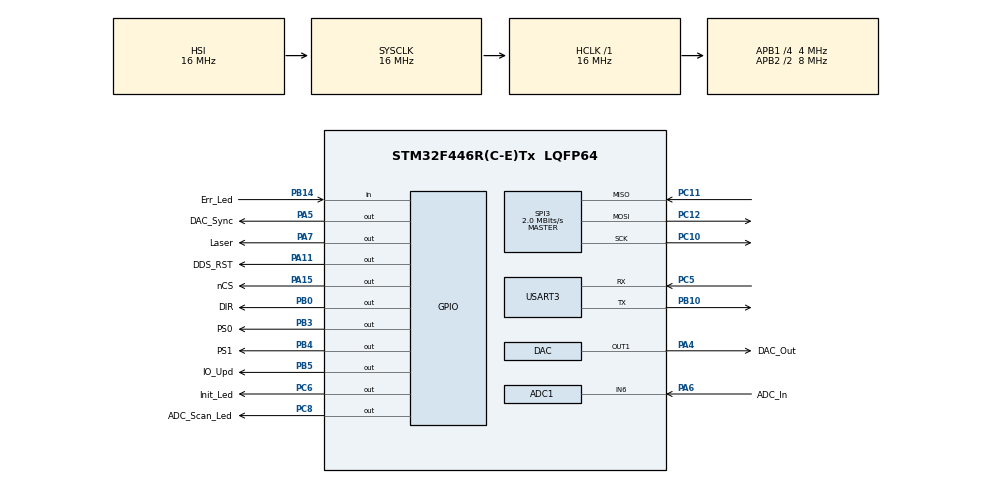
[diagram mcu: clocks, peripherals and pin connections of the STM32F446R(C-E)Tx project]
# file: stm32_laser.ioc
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ADC1.Channel-0\#ChannelRegularConversion=ADC_CHANNEL_6
ADC1.Channel-1\#ChannelInjectedConversion=ADC_CHANNEL_6
ADC1.ClockPrescaler=ADC_CLOCK_SYNC_PCLK_DIV6
ADC1.ContinuousConvMode=DISABLE
ADC1.DMAContinuousRequests=DISABLE
ADC1.DataAlign=ADC_DATAALIGN_RIGHT
ADC1.DiscontinuousConvMode=DISABLE
ADC1.EOCSelection=ADC_EOC_SINGLE_CONV
ADC1.EnableAnalogWatchDog=false
ADC1.ExternalTrigConvEdge=ADC_EXTERNALTRIGCONVEDGE_NONE
ADC1.InjNumberOfConversion=0
ADC1.InjectedOffset-1\#ChannelInjectedConversion=0
ADC1.NbrOfConversion=1
ADC1.NbrOfConversionFlag=1
ADC1.Rank-0\#ChannelRegularConversion=1
ADC1.Rank-1\#ChannelInjectedConversion=1
ADC1.Resolution=ADC_RESOLUTION_8B
ADC1.SamplingTime-0\#ChannelRegularConversion=ADC_SAMPLETIME_480CYCLES
ADC1.SamplingTime-1\#ChannelInjectedConversion=ADC_SAMPLETIME_3CYCLES
ADC1.ScanConvMode=DISABLE
ADC1.master=1
DAC.DAC_Trigger=DAC_TRIGGER_NONE
Dma.ADC1.0.Direction=DMA_PERIPH_TO_MEMORY
Dma.ADC1.0.FIFOMode=DMA_FIFOMODE_DISABLE
Dma.ADC1.0.Instance=DMA2_Stream0
Dma.ADC1.0.MemDataAlignment=DMA_MDATAALIGN_HALFWORD
Dma.ADC1.0.MemInc=DMA_MINC_ENABLE
Dma.ADC1.0.Mode=DMA_NORMAL
Dma.ADC1.0.PeriphDataAlignment=DMA_PDATAALIGN_HALFWORD
Dma.ADC1.0.PeriphInc=DMA_PINC_DISABLE
Dma.ADC1.0.Priority=DMA_PRIORITY_LOW
Dma.Request0=ADC1
Mcu.Family=STM32F4
Mcu.Name=STM32F446R(C-E)Tx
Mcu.Package=LQFP64
NVIC.DMA2_Stream0_IRQn=true\:0\:0\:false\:false\:true
NVIC.PriorityGroup=NVIC_PRIORITYGROUP_4
NVIC.TIM2_IRQn=true\:0\:0\:false\:false\:true
PA11.GPIO_Label=DDS_RST
PA11.Signal=GPIO_Output
PA13.Mode=Serial_Wire
PA13.Signal=SYS_JTMS-SWDIO
PA14.Mode=Serial_Wire
PA14.Signal=SYS_JTCK-SWCLK
PA15.GPIO_Label=nCS
PA15.Signal=GPIO_Output
PA4.GPIO_Label=DAC_Out
PA4.Signal=COMP_DAC1_group
PA5.GPIO_Label=DAC_Sync
PA5.Signal=GPIO_Output
PA6.GPIO_Label=ADC_In
PA6.Signal=ADCx_IN6
PA7.GPIO_Label=Laser
PA7.Signal=GPIO_Output
PB0.GPIO_Label=DIR
PB0.Signal=GPIO_Output
PB10.Mode=Asynchronous
PB10.Signal=USART3_TX
PB14.GPIO_Label=Err_Led
PB14.Signal=GPIO_Input
PB3.GPIO_Label=PS0
PB3.Signal=GPIO_Output
PB4.GPIO_Label=PS1
PB4.Signal=GPIO_Output
PB5.GPIO_Label=IO_Upd
PB5.Signal=GPIO_Output
PC10.Mode=Full_Duplex_Master
PC10.Signal=SPI3_SCK
PC11.Mode=Full_Duplex_Master
PC11.Signal=SPI3_MISO
PC12.Mode=Full_Duplex_Master
PC12.Signal=SPI3_MOSI
PC5.Mode=Asynchronous
PC5.Signal=USART3_RX
PC6.GPIO_Label=Init_Led
PC6.Signal=GPIO_Output
PC8.GPIO_Label=ADC_Scan_Led
PC8.Signal=GPIO_Output
ProjectManager.HeapSize=0x200
ProjectManager.StackSize=0x400
ProjectManager.TargetToolchain=MDK-ARM V5
RCC.AHBFreq_Value=16000000
RCC.APB1CLKDivider=RCC_HCLK_DIV4
RCC.APB1Freq_Value=4000000
RCC.APB1TimFreq_Value=8000000
RCC.APB2CLKDivider=RCC_HCLK_DIV2
RCC.APB2Freq_Value=8000000
RCC.APB2TimFreq_Value=16000000
RCC.CortexFreq_Value=16000000
RCC.HCLKFreq_Value=16000000
RCC.PLLM=8
RCC.PLLN=120
RCC.SYSCLKFreq_VALUE=16000000
RCC.USBFreq_Value=120000000
RCC.VCOOutputFreq_Value=240000000
SH.ADCx_IN6.0=ADC1_IN6,IN6
SH.COMP_DAC1_group.0=DAC_OUT1,DAC_OUT1
SPI3.CalculateBaudRate=2.0 MBits/s
SPI3.Mode=SPI_MODE_MASTER
TIM2.Period=480
TIM2.Prescaler=16
TIM2.TIM_MasterOutputTrigger=TIM_TRGO_UPDATE
VP_TIM2_VS_ClockSourceINT.Mode=Internal
board=stm32_laser

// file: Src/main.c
/**
  ******************************************************************************
  * File Name          : main.c
  * Description        : Main program body
  ******************************************************************************
  *
  * COPYRIGHT(c) 2016 STMicroelectronics
  *
  * Redistribution and use in source and binary forms, with or without modification,
  * are permitted provided that the following conditions are met:
  *   1. Redistributions of source code must retain the above copyright notice,
  *      this list of conditions and the following disclaimer.
  *   2. Redistributions in binary form must reproduce the above copyright notice,
  *      this list of conditions and the following disclaimer in the documentation
  *      and/or other materials provided with the distribution.
  *   3. Neither the name of STMicroelectronics nor the names of its contributors
  *      may be used to endorse or promote products derived from this software
  *      without specific prior written permission.
  *
  * THIS SOFTWARE IS PROVIDED BY THE COPYRIGHT HOLDERS AND CONTRIBUTORS "AS IS"
  * AND ANY EXPRESS OR IMPLIED WARRANTIES, INCLUDING, BUT NOT LIMITED TO, THE
  * IMPLIED WARRANTIES OF MERCHANTABILITY AND FITNESS FOR A PARTICULAR PURPOSE ARE
  * DISCLAIMED. IN NO EVENT SHALL THE COPYRIGHT HOLDER OR CONTRIBUTORS BE LIABLE
  * FOR ANY DIRECT, INDIRECT, INCIDENTAL, SPECIAL, EXEMPLARY, OR CONSEQUENTIAL
  * DAMAGES (INCLUDING, BUT NOT LIMITED TO, PROCUREMENT OF SUBSTITUTE GOODS OR
  * SERVICES; LOSS OF USE, DATA, OR PROFITS; OR BUSINESS INTERRUPTION) HOWEVER
  * CAUSED AND ON ANY THEORY OF LIABILITY, WHETHER IN CONTRACT, STRICT LIABILITY,
  * OR TORT (INCLUDING NEGLIGENCE OR OTHERWISE) ARISING IN ANY WAY OUT OF THE USE
  * OF THIS SOFTWARE, EVEN IF ADVISED OF THE POSSIBILITY OF SUCH DAMAGE.
  *
  ******************************************************************************
  */
#include "stm32f4xx_hal.h"

/* USER CODE BEGIN Includes */
#include "DDS_conf.h"
#include "FFT.h"
//#include "test.h"
/* USER CODE END Includes */

ADC_HandleTypeDef hadc1;
DMA_HandleTypeDef hdma_adc1;

DAC_HandleTypeDef hdac;

SPI_HandleTypeDef hspi3;

TIM_HandleTypeDef htim2;

UART_HandleTypeDef huart3;

/* USER CODE BEGIN PV */
/* Private variables ---------------------------------------------------------*/
uint16_t ADC_data[ARRAY_LEN];			//массив для хранения значений ADC
uint16_t delay_val = 984;

/* USER CODE END PV */

void SystemClock_Config(void);
void Error_Handler(void);
static void MX_GPIO_Init(void);
static void MX_DMA_Init(void);
static void MX_ADC1_Init(void);
static void MX_DAC_Init(void);
static void MX_SPI3_Init(void);
static void MX_TIM2_Init(void);
static void MX_USART3_UART_Init(void);

/* USER CODE BEGIN PFP */
/* Private function prototypes -----------------------------------------------*/
void LED_Loop(void);
/* USER CODE END PFP */

int main(void)
{

  /* MCU Configuration----------------------------------------------------------*/

  /* Reset of all peripherals, Initializes the Flash interface and the Systick. */
  HAL_Init();

  /* Configure the system clock */
  SystemClock_Config();

  /* Initialize all configured peripherals */
  MX_GPIO_Init();
  MX_DMA_Init();
  MX_ADC1_Init();
  MX_DAC_Init();
  MX_SPI3_Init();
  MX_TIM2_Init();
  MX_USART3_UART_Init();

  /* USER CODE BEGIN 2 */
	HAL_GPIO_TogglePin(Init_Led_GPIO_Port, Init_Led_Pin);

	DDS_RST_ON;					//Подаем ресет на DDS
	HAL_Delay(100);			//Ждем ...
	DDS_RST_OFF;				//Снимаем ресет с DDS
	HAL_Delay(100);			//Ждем ...

	DDS_Init();
	HAL_Delay(100);			//Ждем ...
	DDS_CheckReg();			//
	HAL_Delay(1000);

	HAL_GPIO_TogglePin(Init_Led_GPIO_Port, Init_Led_Pin);

  /* USER CODE END 2 */

  /* Infinite loop */
  while (1)
  {

  /* USER CODE BEGIN 3 */
		FFT_Route();

  }
  /* USER CODE END 3 */

}

/** System Clock Configuration
*/
void SystemClock_Config(void)
{

  RCC_OscInitTypeDef RCC_OscInitStruct;
  RCC_ClkInitTypeDef RCC_ClkInitStruct;

  __HAL_RCC_PWR_CLK_ENABLE();

  __HAL_PWR_VOLTAGESCALING_CONFIG(PWR_REGULATOR_VOLTAGE_SCALE3);

  RCC_OscInitStruct.OscillatorType = RCC_OSCILLATORTYPE_HSI;
  RCC_OscInitStruct.HSIState = RCC_HSI_ON;
  RCC_OscInitStruct.HSICalibrationValue = 16;
  RCC_OscInitStruct.PLL.PLLState = RCC_PLL_NONE;
  if (HAL_RCC_OscConfig(&RCC_OscInitStruct) != HAL_OK)
  {
    Error_Handler();
  }

  RCC_ClkInitStruct.ClockType = RCC_CLOCKTYPE_HCLK|RCC_CLOCKTYPE_SYSCLK
                              |RCC_CLOCKTYPE_PCLK1|RCC_CLOCKTYPE_PCLK2;
  RCC_ClkInitStruct.SYSCLKSource = RCC_SYSCLKSOURCE_HSI;
  RCC_ClkInitStruct.AHBCLKDivider = RCC_SYSCLK_DIV1;
  RCC_ClkInitStruct.APB1CLKDivider = RCC_HCLK_DIV4;
  RCC_ClkInitStruct.APB2CLKDivider = RCC_HCLK_DIV2;
  if (HAL_RCC_ClockConfig(&RCC_ClkInitStruct, FLASH_LATENCY_0) != HAL_OK)
  {
    Error_Handler();
  }

  HAL_SYSTICK_Config(HAL_RCC_GetHCLKFreq()/1000);

  HAL_SYSTICK_CLKSourceConfig(SYSTICK_CLKSOURCE_HCLK);

  /* SysTick_IRQn interrupt configuration */
  HAL_NVIC_SetPriority(SysTick_IRQn, 0, 0);
}

/* ADC1 init function */
static void MX_ADC1_Init(void)
{

  ADC_ChannelConfTypeDef sConfig;
  ADC_InjectionConfTypeDef sConfigInjected;

    /**Configure the global features of the ADC (Clock, Resolution, Data Alignment and number of conversion)
    */
  hadc1.Instance = ADC1;
  hadc1.Init.ClockPrescaler = ADC_CLOCK_SYNC_PCLK_DIV6;
  hadc1.Init.Resolution = ADC_RESOLUTION_8B;
  hadc1.Init.ScanConvMode = DISABLE;
  hadc1.Init.ContinuousConvMode = DISABLE;
  hadc1.Init.DiscontinuousConvMode = DISABLE;
  hadc1.Init.ExternalTrigConvEdge = ADC_EXTERNALTRIGCONVEDGE_NONE;
  hadc1.Init.DataAlign = ADC_DATAALIGN_RIGHT;
  hadc1.Init.NbrOfConversion = 1;
  hadc1.Init.DMAContinuousRequests = DISABLE;
  hadc1.Init.EOCSelection = ADC_EOC_SINGLE_CONV;
  if (HAL_ADC_Init(&hadc1) != HAL_OK)
  {
    Error_Handler();
  }

    /**Configure for the selected ADC regular channel its corresponding rank in the sequencer and its sample time.
    */
  sConfig.Channel = ADC_CHANNEL_6;
  sConfig.Rank = 1;
  sConfig.SamplingTime = ADC_SAMPLETIME_480CYCLES;
  if (HAL_ADC_ConfigChannel(&hadc1, &sConfig) != HAL_OK)
  {
    Error_Handler();
  }

    /**Configures for the selected ADC injected channel its corresponding rank in the sequencer and its sample time
    */
  sConfigInjected.InjectedChannel = ADC_CHANNEL_6;
  sConfigInjected.InjectedRank = 1;
  sConfigInjected.InjectedNbrOfConversion = 0;
  sConfigInjected.InjectedSamplingTime = ADC_SAMPLETIME_3CYCLES;
  sConfigInjected.AutoInjectedConv = DISABLE;
  sConfigInjected.InjectedDiscontinuousConvMode = DISABLE;
  sConfigInjected.InjectedOffset = 0;
  if (HAL_ADCEx_InjectedConfigChannel(&hadc1, &sConfigInjected) != HAL_OK)
  {
    Error_Handler();
  }

}

/* DAC init function */
static void MX_DAC_Init(void)
{

  DAC_ChannelConfTypeDef sConfig;

    /**DAC Initialization
    */
  hdac.Instance = DAC;
  if (HAL_DAC_Init(&hdac) != HAL_OK)
  {
    Error_Handler();
  }

    /**DAC channel OUT1 config
    */
  sConfig.DAC_Trigger = DAC_TRIGGER_NONE;
  sConfig.DAC_OutputBuffer = DAC_OUTPUTBUFFER_ENABLE;
  if (HAL_DAC_ConfigChannel(&hdac, &sConfig, DAC_CHANNEL_1) != HAL_OK)
  {
    Error_Handler();
  }

}

/* SPI3 init function */
static void MX_SPI3_Init(void)
{

  hspi3.Instance = SPI3;
  hspi3.Init.Mode = SPI_MODE_MASTER;
  hspi3.Init.Direction = SPI_DIRECTION_2LINES;
  hspi3.Init.DataSize = SPI_DATASIZE_8BIT;
  hspi3.Init.CLKPolarity = SPI_POLARITY_LOW;
  hspi3.Init.CLKPhase = SPI_PHASE_1EDGE;
  hspi3.Init.NSS = SPI_NSS_SOFT;
  hspi3.Init.BaudRatePrescaler = SPI_BAUDRATEPRESCALER_2;
  hspi3.Init.FirstBit = SPI_FIRSTBIT_MSB;
  hspi3.Init.TIMode = SPI_TIMODE_DISABLE;
  hspi3.Init.CRCCalculation = SPI_CRCCALCULATION_DISABLE;
  hspi3.Init.CRCPolynomial = 10;
  if (HAL_SPI_Init(&hspi3) != HAL_OK)
  {
    Error_Handler();
  }

}

/* TIM2 init function */
static void MX_TIM2_Init(void)
{

  TIM_ClockConfigTypeDef sClockSourceConfig;
  TIM_MasterConfigTypeDef sMasterConfig;

  htim2.Instance = TIM2;
  htim2.Init.Prescaler = 16;
  htim2.Init.CounterMode = TIM_COUNTERMODE_UP;
  htim2.Init.Period = 480;
  htim2.Init.ClockDivision = TIM_CLOCKDIVISION_DIV1;
  if (HAL_TIM_Base_Init(&htim2) != HAL_OK)
  {
    Error_Handler();
  }

  sClockSourceConfig.ClockSource = TIM_CLOCKSOURCE_INTERNAL;
  if (HAL_TIM_ConfigClockSource(&htim2, &sClockSourceConfig) != HAL_OK)
  {
    Error_Handler();
  }

  sMasterConfig.MasterOutputTrigger = TIM_TRGO_UPDATE;
  sMasterConfig.MasterSlaveMode = TIM_MASTERSLAVEMODE_DISABLE;
  if (HAL_TIMEx_MasterConfigSynchronization(&htim2, &sMasterConfig) != HAL_OK)
  {
    Error_Handler();
  }

}

/* USART3 init function */
static void MX_USART3_UART_Init(void)
{

  huart3.Instance = USART3;
  huart3.Init.BaudRate = 115200;
  huart3.Init.WordLength = UART_WORDLENGTH_8B;
  huart3.Init.StopBits = UART_STOPBITS_1;
  huart3.Init.Parity = UART_PARITY_NONE;
  huart3.Init.Mode = UART_MODE_TX_RX;
  huart3.Init.HwFlowCtl = UART_HWCONTROL_NONE;
  huart3.Init.OverSampling = UART_OVERSAMPLING_16;
  if (HAL_UART_Init(&huart3) != HAL_OK)
  {
    Error_Handler();
  }

}

static void MX_DMA_Init(void)
{
  /* DMA controller clock enable */
  __HAL_RCC_DMA2_CLK_ENABLE();

  /* DMA interrupt init */
  /* DMA2_Stream0_IRQn interrupt configuration */
  HAL_NVIC_SetPriority(DMA2_Stream0_IRQn, 0, 0);
  HAL_NVIC_EnableIRQ(DMA2_Stream0_IRQn);

}

/** Configure pins as
        * Analog
        * Input
        * Output
        * EVENT_OUT
        * EXTI
*/
static void MX_GPIO_Init(void)
{

  GPIO_InitTypeDef GPIO_InitStruct;

  /* GPIO Ports Clock Enable */
  __HAL_RCC_GPIOA_CLK_ENABLE();
  __HAL_RCC_GPIOC_CLK_ENABLE();
  __HAL_RCC_GPIOB_CLK_ENABLE();

  /*Configure GPIO pin Output Level */
  HAL_GPIO_WritePin(GPIOA, DAC_Sync_Pin|Laser_Pin|DDS_RST_Pin|nCS_Pin, GPIO_PIN_RESET);

  /*Configure GPIO pin Output Level */
  HAL_GPIO_WritePin(GPIOB, DIR_Pin|PS0_Pin|PS1_Pin|IO_Upd_Pin, GPIO_PIN_RESET);

  /*Configure GPIO pin Output Level */
  HAL_GPIO_WritePin(GPIOC, Init_Led_Pin|ADC_Scan_Led_Pin, GPIO_PIN_RESET);

  /*Configure GPIO pins : DAC_Sync_Pin Laser_Pin DDS_RST_Pin nCS_Pin */
  GPIO_InitStruct.Pin = DAC_Sync_Pin|Laser_Pin|DDS_RST_Pin|nCS_Pin;
  GPIO_InitStruct.Mode = GPIO_MODE_OUTPUT_PP;
  GPIO_InitStruct.Pull = GPIO_NOPULL;
  GPIO_InitStruct.Speed = GPIO_SPEED_FREQ_LOW;
  HAL_GPIO_Init(GPIOA, &GPIO_InitStruct);

  /*Configure GPIO pins : DIR_Pin PS0_Pin PS1_Pin IO_Upd_Pin */
  GPIO_InitStruct.Pin = DIR_Pin|PS0_Pin|PS1_Pin|IO_Upd_Pin;
  GPIO_InitStruct.Mode = GPIO_MODE_OUTPUT_PP;
  GPIO_InitStruct.Pull = GPIO_NOPULL;
  GPIO_InitStruct.Speed = GPIO_SPEED_FREQ_LOW;
  HAL_GPIO_Init(GPIOB, &GPIO_InitStruct);

  /*Configure GPIO pin : Err_Led_Pin */
  GPIO_InitStruct.Pin = Err_Led_Pin;
  GPIO_InitStruct.Mode = GPIO_MODE_INPUT;
  GPIO_InitStruct.Pull = GPIO_NOPULL;
  HAL_GPIO_Init(Err_Led_GPIO_Port, &GPIO_InitStruct);

  /*Configure GPIO pins : Init_Led_Pin ADC_Scan_Led_Pin */
  GPIO_InitStruct.Pin = Init_Led_Pin|ADC_Scan_Led_Pin;
  GPIO_InitStruct.Mode = GPIO_MODE_OUTPUT_PP;
  GPIO_InitStruct.Pull = GPIO_NOPULL;
  GPIO_InitStruct.Speed = GPIO_SPEED_FREQ_LOW;
  HAL_GPIO_Init(GPIOC, &GPIO_InitStruct);

}

/* USER CODE BEGIN 4 */
void LED_Loop()
{
	//HAL_Delay(100);
}
/* USER CODE END 4 */

void Error_Handler(void)
{
  while(1)
  {
  }
}

/************************ (C) COPYRIGHT STMicroelectronics *****END OF FILE****/
